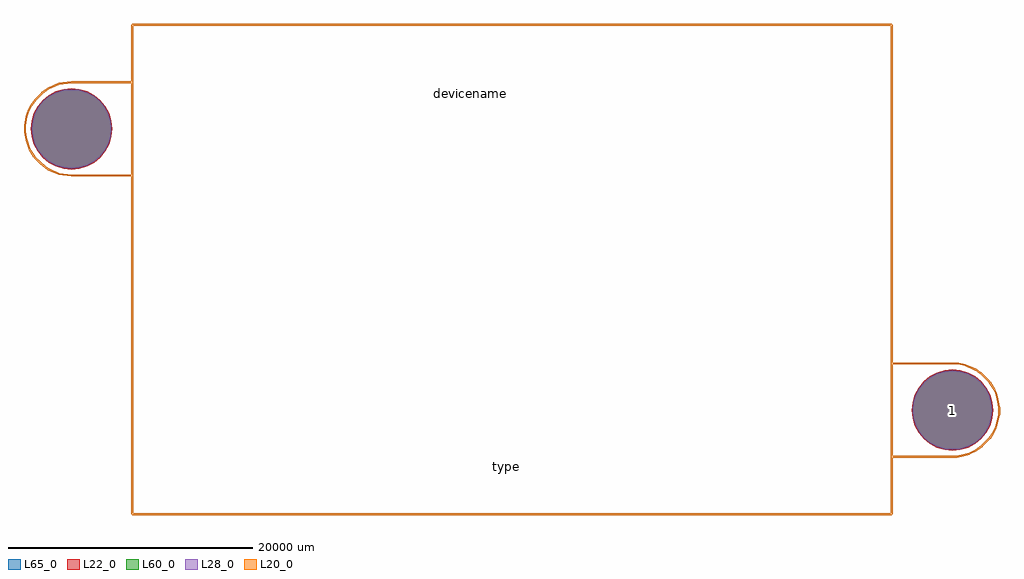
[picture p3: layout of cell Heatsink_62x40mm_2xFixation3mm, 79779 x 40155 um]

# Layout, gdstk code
import gdstk
lib = gdstk.Library(unit=1e-6, precision=1e-09)
def P(c, l, *ps):  # polygons
    for p in ps: c.add(gdstk.Polygon(p, *l))
L20_0 = (20, 0)
L22_0 = (22, 0)
L28_0 = (28, 0)
L60_0 = (60, 0)
L65_0 = (65, 0)

heatsink_62x40mm_2xfixat = lib.new_cell('Heatsink_62x40mm_2xFixation3mm')
P(heatsink_62x40mm_2xfixat, L22_0, [(-1629.34,31496),(-1693.203,32144.414),(-1882.339,32767.91),(-2189.478,33342.527),(-2602.817,33846.183),(-3106.473,34259.522),(-3681.09,34566.661),(-4304.586,34755.797),(-4953,34819.66),(-5601.414,34755.797),(-6224.91,34566.661),(-6799.527,34259.522),(-7303.183,33846.183),(-7716.522,33342.527),(-8023.661,32767.91),(-8212.797,32144.414),(-8276.66,31496),(-8212.797,30847.586),(-8023.661,30224.09),(-7716.522,29649.473),(-7303.183,29145.817),(-6799.527,28732.478),(-6224.91,28425.339),(-5601.414,28236.203),(-4953,28172.34),(-4304.586,28236.203),(-3681.09,28425.339),(-3106.473,28732.478),(-2602.817,29145.817),(-2189.478,29649.473),(-1882.339,30224.09),(-1693.203,30847.586)],
  [(70379.66,8509),(70315.797,9157.414),(70126.661,9780.91),(69819.522,10355.527),(69406.183,10859.183),(68902.527,11272.522),(68327.91,11579.661),(67704.414,11768.797),(67056,11832.66),(66407.586,11768.797),(65784.09,11579.661),(65209.473,11272.522),(64705.817,10859.183),(64292.478,10355.527),(63985.339,9780.91),(63796.203,9157.414),(63732.34,8509),(63796.203,7860.586),(63985.339,7237.09),(64292.478,6662.473),(64705.817,6158.817),(65209.473,5745.478),(65784.09,5438.339),(66407.586,5249.203),(67056,5185.34),(67704.414,5249.203),(68327.91,5438.339),(68902.527,5745.478),(69406.183,6158.817),(69819.522,6662.473),(70126.661,7237.09),(70315.797,7860.586)])
P(heatsink_62x40mm_2xfixat, L28_0, [(-1704.34,31496),(-1766.762,32129.782),(-1951.63,32739.208),(-2251.838,33300.859),(-2655.85,33793.15),(-3148.141,34197.162),(-3709.792,34497.37),(-4319.218,34682.238),(-4953,34744.66),(-5586.782,34682.238),(-6196.208,34497.37),(-6757.859,34197.162),(-7250.15,33793.15),(-7654.162,33300.859),(-7954.37,32739.208),(-8139.238,32129.782),(-8201.66,31496),(-8139.238,30862.218),(-7954.37,30252.792),(-7654.162,29691.141),(-7250.15,29198.85),(-6757.859,28794.838),(-6196.208,28494.63),(-5586.782,28309.762),(-4953,28247.34),(-4319.218,28309.762),(-3709.792,28494.63),(-3148.141,28794.838),(-2655.85,29198.85),(-2251.838,29691.141),(-1951.63,30252.792),(-1766.762,30862.218)],
  [(70304.66,8509),(70242.238,9142.782),(70057.37,9752.208),(69757.162,10313.859),(69353.15,10806.15),(68860.859,11210.162),(68299.208,11510.37),(67689.782,11695.238),(67056,11757.66),(66422.218,11695.238),(65812.792,11510.37),(65251.141,11210.162),(64758.85,10806.15),(64354.838,10313.859),(64054.63,9752.208),(63869.762,9142.782),(63807.34,8509),(63869.762,7875.218),(64054.63,7265.792),(64354.838,6704.141),(64758.85,6211.85),(65251.141,5807.838),(65812.792,5507.63),(66422.218,5322.762),(67056,5260.34),(67689.782,5322.762),(68299.208,5507.63),(68860.859,5807.838),(69353.15,6211.85),(69757.162,6704.141),(70057.37,7265.792),(70242.238,7875.218)])
P(heatsink_62x40mm_2xfixat, L60_0, [(-1704.34,31496),(-1766.762,32129.782),(-1951.63,32739.208),(-2251.838,33300.859),(-2655.85,33793.15),(-3148.141,34197.162),(-3709.792,34497.37),(-4319.218,34682.238),(-4953,34744.66),(-5586.782,34682.238),(-6196.208,34497.37),(-6757.859,34197.162),(-7250.15,33793.15),(-7654.162,33300.859),(-7954.37,32739.208),(-8139.238,32129.782),(-8201.66,31496),(-8139.238,30862.218),(-7954.37,30252.792),(-7654.162,29691.141),(-7250.15,29198.85),(-6757.859,28794.838),(-6196.208,28494.63),(-5586.782,28309.762),(-4953,28247.34),(-4319.218,28309.762),(-3709.792,28494.63),(-3148.141,28794.838),(-2655.85,29198.85),(-2251.838,29691.141),(-1951.63,30252.792),(-1766.762,30862.218)],
  [(70304.66,8509),(70242.238,9142.782),(70057.37,9752.208),(69757.162,10313.859),(69353.15,10806.15),(68860.859,11210.162),(68299.208,11510.37),(67689.782,11695.238),(67056,11757.66),(66422.218,11695.238),(65812.792,11510.37),(65251.141,11210.162),(64758.85,10806.15),(64354.838,10313.859),(64054.63,9752.208),(63869.762,9142.782),(63807.34,8509),(63869.762,7875.218),(64054.63,7265.792),(64354.838,6704.141),(64758.85,6211.85),(65251.141,5807.838),(65812.792,5507.63),(66422.218,5322.762),(67056,5260.34),(67689.782,5322.762),(68299.208,5507.63),(68860.859,5807.838),(69353.15,6211.85),(69757.162,6704.141),(70057.37,7265.792),(70242.238,7875.218)])
P(heatsink_62x40mm_2xfixat, L65_0, [(-1629.34,31496),(-1693.203,32144.414),(-1882.339,32767.91),(-2189.478,33342.527),(-2602.817,33846.183),(-3106.473,34259.522),(-3681.09,34566.661),(-4304.586,34755.797),(-4953,34819.66),(-5601.414,34755.797),(-6224.91,34566.661),(-6799.527,34259.522),(-7303.183,33846.183),(-7716.522,33342.527),(-8023.661,32767.91),(-8212.797,32144.414),(-8276.66,31496),(-8212.797,30847.586),(-8023.661,30224.09),(-7716.522,29649.473),(-7303.183,29145.817),(-6799.527,28732.478),(-6224.91,28425.339),(-5601.414,28236.203),(-4953,28172.34),(-4304.586,28236.203),(-3681.09,28425.339),(-3106.473,28732.478),(-2602.817,29145.817),(-2189.478,29649.473),(-1882.339,30224.09),(-1693.203,30847.586)],
  [(70379.66,8509),(70315.797,9157.414),(70126.661,9780.91),(69819.522,10355.527),(69406.183,10859.183),(68902.527,11272.522),(68327.91,11579.661),(67704.414,11768.797),(67056,11832.66),(66407.586,11768.797),(65784.09,11579.661),(65209.473,11272.522),(64705.817,10859.183),(64292.478,10355.527),(63985.339,9780.91),(63796.203,9157.414),(63732.34,8509),(63796.203,7860.586),(63985.339,7237.09),(64292.478,6662.473),(64705.817,6158.817),(65209.473,5745.478),(65784.09,5438.339),(66407.586,5249.203),(67056,5185.34),(67704.414,5249.203),(68327.91,5438.339),(68902.527,5745.478),(69406.183,6158.817),(69819.522,6662.473),(70126.661,7237.09),(70315.797,7860.586)])
heatsink_62x40mm_2xfixat.add(gdstk.FlexPath([(0,40005),(0,0)], 149.998, ends="flush", simple_path=True, layer=20, datatype=0))  # L20_0
heatsink_62x40mm_2xfixat.add(gdstk.FlexPath([(62103,40005),(0,40005)], 149.998, ends="flush", simple_path=True, layer=20, datatype=0))  # L20_0
heatsink_62x40mm_2xfixat.add(gdstk.FlexPath([(62103,0),(62103,40005)], 149.998, ends="flush", simple_path=True, layer=20, datatype=0))  # L20_0
heatsink_62x40mm_2xfixat.add(gdstk.FlexPath([(0,0),(62103,0)], 149.998, ends="flush", simple_path=True, layer=20, datatype=0))  # L20_0
heatsink_62x40mm_2xfixat.add(gdstk.FlexPath([(-4953,35306),(0,35306)], 149.998, ends="flush", simple_path=True, layer=20, datatype=0))  # L20_0
heatsink_62x40mm_2xfixat.add(gdstk.FlexPath([(0,27686),(-4953,27686)], 149.998, ends="flush", simple_path=True, layer=20, datatype=0))  # L20_0
heatsink_62x40mm_2xfixat.add(gdstk.FlexPath([(-5969,27813),(-4953,27686)], 149.998, ends="flush", simple_path=True, layer=20, datatype=0))  # L20_0
heatsink_62x40mm_2xfixat.add(gdstk.FlexPath([(-6858,28194),(-5969,27813)], 149.998, ends="flush", simple_path=True, layer=20, datatype=0))  # L20_0
heatsink_62x40mm_2xfixat.add(gdstk.FlexPath([(-7493,28702),(-6858,28194)], 149.998, ends="flush", simple_path=True, layer=20, datatype=0))  # L20_0
heatsink_62x40mm_2xfixat.add(gdstk.FlexPath([(-8001,29210),(-7493,28702)], 149.998, ends="flush", simple_path=True, layer=20, datatype=0))  # L20_0
heatsink_62x40mm_2xfixat.add(gdstk.FlexPath([(-8382,29845),(-8001,29210)], 149.998, ends="flush", simple_path=True, layer=20, datatype=0))  # L20_0
heatsink_62x40mm_2xfixat.add(gdstk.FlexPath([(-8636,30607),(-8382,29845)], 149.998, ends="flush", simple_path=True, layer=20, datatype=0))  # L20_0
heatsink_62x40mm_2xfixat.add(gdstk.FlexPath([(-8763,31242),(-8636,30607)], 149.998, ends="flush", simple_path=True, layer=20, datatype=0))  # L20_0
heatsink_62x40mm_2xfixat.add(gdstk.FlexPath([(-8763,31750),(-8763,31242)], 149.998, ends="flush", simple_path=True, layer=20, datatype=0))  # L20_0
heatsink_62x40mm_2xfixat.add(gdstk.FlexPath([(-8636,32512),(-8763,31750)], 149.998, ends="flush", simple_path=True, layer=20, datatype=0))  # L20_0
heatsink_62x40mm_2xfixat.add(gdstk.FlexPath([(-8509,32893),(-8636,32512)], 149.998, ends="flush", simple_path=True, layer=20, datatype=0))  # L20_0
heatsink_62x40mm_2xfixat.add(gdstk.FlexPath([(-8255,33401),(-8509,32893)], 149.998, ends="flush", simple_path=True, layer=20, datatype=0))  # L20_0
heatsink_62x40mm_2xfixat.add(gdstk.FlexPath([(-7874,33909),(-8255,33401)], 149.998, ends="flush", simple_path=True, layer=20, datatype=0))  # L20_0
heatsink_62x40mm_2xfixat.add(gdstk.FlexPath([(-7366,34417),(-7874,33909)], 149.998, ends="flush", simple_path=True, layer=20, datatype=0))  # L20_0
heatsink_62x40mm_2xfixat.add(gdstk.FlexPath([(-6858,34798),(-7366,34417)], 149.998, ends="flush", simple_path=True, layer=20, datatype=0))  # L20_0
heatsink_62x40mm_2xfixat.add(gdstk.FlexPath([(-5969,35179),(-6858,34798)], 149.998, ends="flush", simple_path=True, layer=20, datatype=0))  # L20_0
heatsink_62x40mm_2xfixat.add(gdstk.FlexPath([(-4953,35306),(-5969,35179)], 149.998, ends="flush", simple_path=True, layer=20, datatype=0))  # L20_0
heatsink_62x40mm_2xfixat.add(gdstk.FlexPath([(67056,4699),(62103,4699)], 149.998, ends="flush", simple_path=True, layer=20, datatype=0))  # L20_0
heatsink_62x40mm_2xfixat.add(gdstk.FlexPath([(67056,12319),(62103,12319)], 149.998, ends="flush", simple_path=True, layer=20, datatype=0))  # L20_0
heatsink_62x40mm_2xfixat.add(gdstk.FlexPath([(67437,4699),(67056,4699)], 149.998, ends="flush", simple_path=True, layer=20, datatype=0))  # L20_0
heatsink_62x40mm_2xfixat.add(gdstk.FlexPath([(67945,4826),(67437,4699)], 149.998, ends="flush", simple_path=True, layer=20, datatype=0))  # L20_0
heatsink_62x40mm_2xfixat.add(gdstk.FlexPath([(68453,4953),(67945,4826)], 149.998, ends="flush", simple_path=True, layer=20, datatype=0))  # L20_0
heatsink_62x40mm_2xfixat.add(gdstk.FlexPath([(68961,5207),(68453,4953)], 149.998, ends="flush", simple_path=True, layer=20, datatype=0))  # L20_0
heatsink_62x40mm_2xfixat.add(gdstk.FlexPath([(69469,5588),(68961,5207)], 149.998, ends="flush", simple_path=True, layer=20, datatype=0))  # L20_0
heatsink_62x40mm_2xfixat.add(gdstk.FlexPath([(70104,6223),(69469,5588)], 149.998, ends="flush", simple_path=True, layer=20, datatype=0))  # L20_0
heatsink_62x40mm_2xfixat.add(gdstk.FlexPath([(70358,6604),(70104,6223)], 149.998, ends="flush", simple_path=True, layer=20, datatype=0))  # L20_0
heatsink_62x40mm_2xfixat.add(gdstk.FlexPath([(70485,6858),(70358,6604)], 149.998, ends="flush", simple_path=True, layer=20, datatype=0))  # L20_0
heatsink_62x40mm_2xfixat.add(gdstk.FlexPath([(70612,7112),(70485,6858)], 149.998, ends="flush", simple_path=True, layer=20, datatype=0))  # L20_0
heatsink_62x40mm_2xfixat.add(gdstk.FlexPath([(70866,8128),(70612,7112)], 149.998, ends="flush", simple_path=True, layer=20, datatype=0))  # L20_0
heatsink_62x40mm_2xfixat.add(gdstk.FlexPath([(70866,8763),(70866,8128)], 149.998, ends="flush", simple_path=True, layer=20, datatype=0))  # L20_0
heatsink_62x40mm_2xfixat.add(gdstk.FlexPath([(70739,9398),(70866,8763)], 149.998, ends="flush", simple_path=True, layer=20, datatype=0))  # L20_0
heatsink_62x40mm_2xfixat.add(gdstk.FlexPath([(70612,9906),(70739,9398)], 149.998, ends="flush", simple_path=True, layer=20, datatype=0))  # L20_0
heatsink_62x40mm_2xfixat.add(gdstk.FlexPath([(70485,10160),(70612,9906)], 149.998, ends="flush", simple_path=True, layer=20, datatype=0))  # L20_0
heatsink_62x40mm_2xfixat.add(gdstk.FlexPath([(70104,10795),(70485,10160)], 149.998, ends="flush", simple_path=True, layer=20, datatype=0))  # L20_0
heatsink_62x40mm_2xfixat.add(gdstk.FlexPath([(69342,11557),(70104,10795)], 149.998, ends="flush", simple_path=True, layer=20, datatype=0))  # L20_0
heatsink_62x40mm_2xfixat.add(gdstk.FlexPath([(68961,11811),(69342,11557)], 149.998, ends="flush", simple_path=True, layer=20, datatype=0))  # L20_0
heatsink_62x40mm_2xfixat.add(gdstk.FlexPath([(68072,12192),(68961,11811)], 149.998, ends="flush", simple_path=True, layer=20, datatype=0))  # L20_0
heatsink_62x40mm_2xfixat.add(gdstk.FlexPath([(67564,12319),(68072,12192)], 149.998, ends="flush", simple_path=True, layer=20, datatype=0))  # L20_0
heatsink_62x40mm_2xfixat.add(gdstk.FlexPath([(67056,12319),(67564,12319)], 149.998, ends="flush", simple_path=True, layer=20, datatype=0))  # L20_0
heatsink_62x40mm_2xfixat.add(gdstk.Label('1', (67056,8509), layer=28, texttype=0))
heatsink_62x40mm_2xfixat.add(gdstk.Label('type', (30607,3937), layer=9, texttype=0))
heatsink_62x40mm_2xfixat.add(gdstk.Label('devicename', (27686,34417), layer=9, texttype=0))

lib.write_gds('Heatsink_62x40mm_2xFixation3mm.gds')
